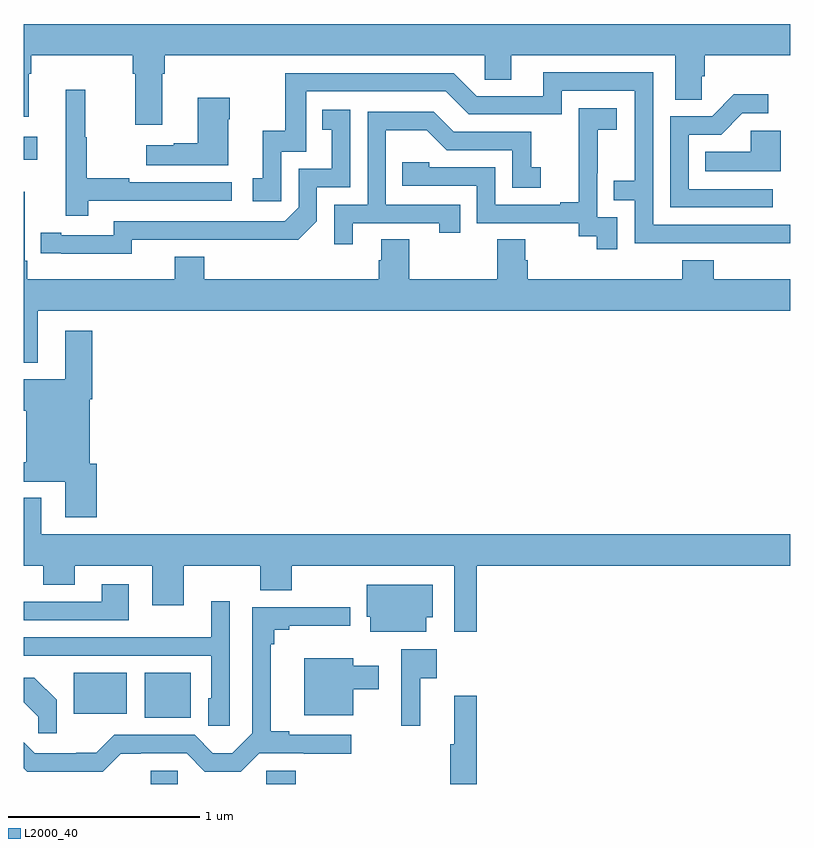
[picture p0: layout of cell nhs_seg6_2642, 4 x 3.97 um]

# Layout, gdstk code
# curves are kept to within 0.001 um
import gdstk
lib = gdstk.Library(unit=1e-6, precision=1e-09)
def R(c, l, rs):  # rectangles x0, y0, x1, y1
    for r in rs: c.add(gdstk.rectangle(r[:2], r[2:], *l))
def P(c, l, *ps):  # polygons
    for p in ps: c.add(gdstk.Polygon(p, *l))
L2000_40 = (2000, 40)

nhs_seg6_2642 = lib.new_cell('nhs_seg6_2642')
R(nhs_seg6_2642, L2000_40, [(267.662,975.5,267.804,975.57), (268.266,975.5,268.418,975.57), (267.632,975.845,267.871,976.081), (267.26,975.866,267.538,976.081), (267,978.758,267.07,978.88)])
P(nhs_seg6_2642, L2000_40, [(267.721,979.208),(267.734,979.208),(267.734,979.304),(269.406,979.304),(269.406,979.177),(269.545,979.177),(269.545,979.304),(270.401,979.304),(270.401,979.072),(270.54,979.072),(270.54,979.195),(270.554,979.195),(270.554,979.304),(271,979.304),(271,979.468),(267,979.468),(267,978.984),(267.025,978.984),(267.025,979.208),(267.038,979.208),(267.038,979.304),(267.569,979.304),(267.569,979.208),(267.581,979.208),(267.581,978.942),(267.721,978.942)],
  [(271,978.42),(270.285,978.42),(270.285,979.215),(269.711,979.215),(269.711,979.092),(269.364,979.092),(269.244,979.212),(268.365,979.212),(268.365,978.91),(268.247,978.91),(268.247,978.663),(268.194,978.663),(268.194,978.543),(268.344,978.543),(268.344,978.801),(268.473,978.801),(268.473,979.116),(269.202,979.116),(269.322,978.996),(269.808,978.996),(269.808,979.119),(270.189,979.119),(270.189,978.65),(270.079,978.65),(270.079,978.549),(270.189,978.549),(270.189,978.324),(271,978.323)],
  [(267.335,978.546),(268.084,978.546),(268.084,978.642),(267.551,978.642),(267.551,978.662),(267.328,978.662),(267.328,978.876),(267.32,978.876),(267.32,979.126),(267.218,979.126),(267.218,978.468),(267.335,978.468)],
  [(270.91,978.606),(270.471,978.606),(270.471,978.891),(270.64,978.891),(270.751,979.002),(270.886,979.002),(270.886,979.1),(270.707,979.1),(270.594,978.987),(270.375,978.987),(270.375,978.51),(270.91,978.51)],
  [(268.066,978.971),(268.074,978.971),(268.074,979.084),(267.908,979.084),(267.908,978.845),(267.782,978.845),(267.782,978.835),(267.639,978.835),(267.639,978.731),(268.066,978.731)],
  [(270.099,978.459),(269.994,978.459),(269.994,978.689),(269.996,978.689),(269.996,978.917),(270.094,978.917),(270.094,979.027),(269.896,979.027),(269.896,978.821),(269.897,978.821),(269.897,978.538),(269.801,978.538),(269.801,978.525),(269.46,978.525),(269.46,978.72),(269.115,978.72),(269.115,978.747),(268.975,978.747),(268.975,978.624),(269.364,978.624),(269.364,978.429),(269.898,978.429),(269.898,978.361),(269.991,978.361),(269.991,978.291),(270.099,978.291)],
  [(267.564,978.342),(268.432,978.341),(268.53,978.438),(268.53,978.615),(268.704,978.615),(268.704,979.021),(268.558,979.021),(268.558,978.915),(268.607,978.915),(268.607,978.711),(268.434,978.711),(268.434,978.51),(268.362,978.438),(267.468,978.438),(267.468,978.366),(267.196,978.366),(267.196,978.379),(267.088,978.379),(267.088,978.27),(267.564,978.269)],
  [(268.717,978.429),(269.168,978.429),(269.168,978.378),(269.279,978.378),(269.279,978.525),(268.89,978.525),(268.89,978.914),(269.104,978.914),(269.208,978.81),(269.55,978.81),(269.55,978.612),(269.698,978.612),(269.698,978.721),(269.649,978.721),(269.649,978.906),(269.245,978.906),(269.14,979.011),(268.794,979.011),(268.794,978.525),(268.62,978.525),(268.62,978.318),(268.717,978.318)],
  [(270.952,978.91),(270.795,978.91),(270.795,978.802),(270.556,978.802),(270.556,978.698),(270.952,978.698)],
  [(269.47,978.344),(269.47,978.136),(269.013,978.136),(269.013,978.344),(268.865,978.344),(268.865,978.234),(268.853,978.234),(268.853,978.136),(267.941,978.136),(267.941,978.253),(267.788,978.253),(267.788,978.136),(267.017,978.136),(267.017,978.232),(267.003,978.232),(267.003,978.592),(267,978.592),(267,977.699),(267.073,977.699),(267.073,977.972),(271,977.972),(271,978.136),(270.602,978.136),(270.602,978.235),(270.437,978.235),(270.437,978.136),(269.63,978.136),(269.63,978.234),(269.617,978.234),(269.617,978.344)],
  [(267.38,977.172),(267.343,977.172),(267.343,977.51),(267.356,977.51),(267.356,977.866),(267.215,977.866),(267.215,977.614),(267,977.614),(267,977.45),(267.011,977.45),(267.011,977.18),(267,977.18),(267,977.079),(267.215,977.079),(267.215,976.893),(267.38,976.893)],
  [(269.363,976.64),(271,976.64),(271,976.804),(267.091,976.804),(267.091,976.994),(267,976.994),(267,976.64),(267.101,976.64),(267.101,976.541),(267.265,976.541),(267.265,976.64),(267.671,976.64),(267.671,976.434),(267.835,976.434),(267.835,976.64),(268.235,976.64),(268.235,976.512),(268.399,976.512),(268.399,976.64),(269.247,976.64),(269.247,976.296),(269.363,976.296)],
  [(267.547,976.543),(267.407,976.543),(267.407,976.452),(267,976.452),(267,976.356),(267.547,976.356)],
  [(269.101,976.37),(269.134,976.37),(269.134,976.54),(268.79,976.54),(268.79,976.374),(268.808,976.374),(268.808,976.295),(269.101,976.295)],
  [(268.074,976.453),(267.977,976.453),(267.977,976.267),(267.643,976.267),(267.643,976.266),(267,976.266),(267,976.17),(267.978,976.17),(267.978,975.948),(267.962,975.948),(267.962,975.805),(268.074,975.805)],
  [(267.506,975.659),(267.849,975.66),(267.945,975.564),(268.132,975.564),(268.228,975.66),(268.708,975.659),(268.708,975.756),(268.384,975.756),(268.384,975.776),(268.288,975.776),(268.288,976.229),(268.307,976.229),(268.307,976.306),(268.384,976.306),(268.384,976.325),(268.705,976.325),(268.705,976.424),(268.495,976.424),(268.495,976.422),(268.191,976.422),(268.191,975.765),(268.087,975.661),(267.986,975.661),(267.891,975.756),(267.471,975.756),(267.377,975.662),(267.272,975.662),(267.272,975.66),(267.057,975.66),(267,975.717),(267,975.581),(267.017,975.564),(267.411,975.564)],
  [(269.069,976.052),(269.155,976.052),(269.155,976.204),(268.971,976.204),(268.971,975.804),(269.069,975.804)],
  [(268.72,975.995),(268.852,975.995),(268.852,976.117),(268.72,976.117),(268.72,976.156),(268.463,976.156),(268.463,975.86),(268.72,975.86)],
  [(267.171,975.94),(267.055,976.056),(267,976.056),(267,975.928),(267.076,975.852),(267.076,975.765),(267.171,975.765)],
  [(269.246,975.708),(269.227,975.708),(269.227,975.5),(269.363,975.5),(269.363,975.961),(269.246,975.961)])

lib.write_gds('nhs_seg6_2642.gds')
